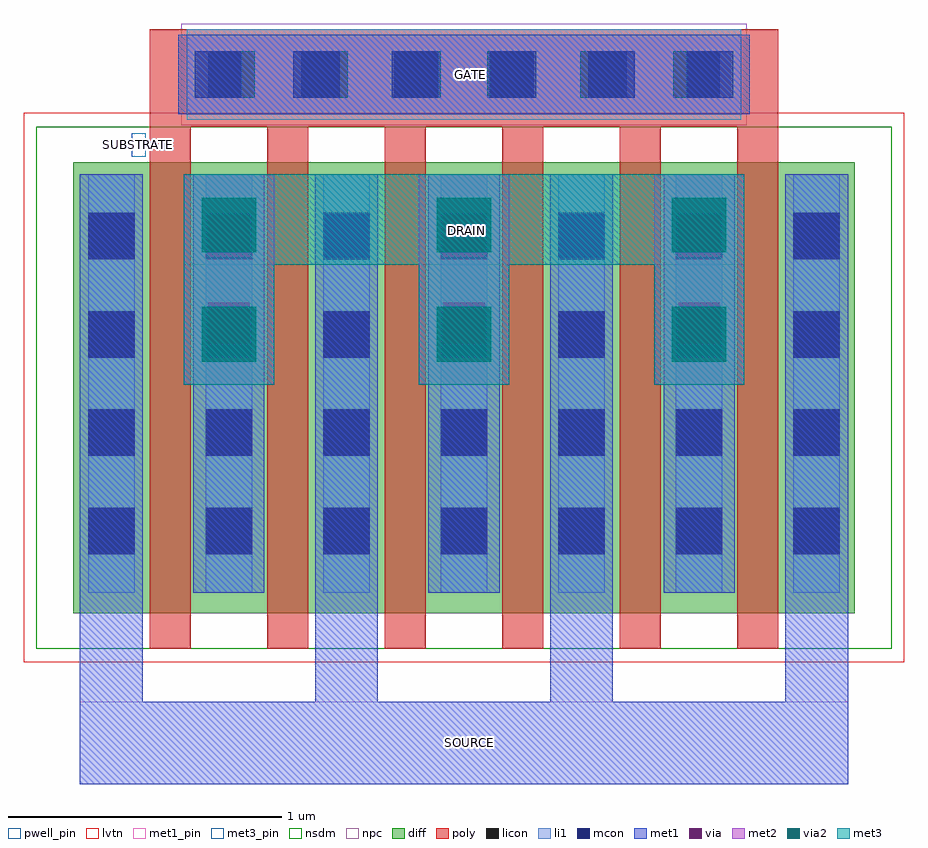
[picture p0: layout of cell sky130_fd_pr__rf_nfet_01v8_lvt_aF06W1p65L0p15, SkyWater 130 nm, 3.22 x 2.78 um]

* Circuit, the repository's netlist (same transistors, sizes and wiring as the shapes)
* Copyright 2020 The SkyWater PDK Authors
*
* Licensed under the Apache License, Version 2.0 (the "License");
* you may not use this file except in compliance with the License.
* You may obtain a copy of the License at
*
*     https://www.apache.org/licenses/LICENSE-2.0
*
* Unless required by applicable law or agreed to in writing, software
* distributed under the License is distributed on an "AS IS" BASIS,
* WITHOUT WARRANTIES OR CONDITIONS OF ANY KIND, either express or implied.
* See the License for the specific language governing permissions and
* limitations under the License.
*
* SPDX-License-Identifier: Apache-2.0


.subckt sky130_fd_pr__rf_nfet_01v8_lvt_aF06W1p65L0p15 DRAIN GATE SOURCE SUBSTRATE
X0 SOURCE GATE DRAIN SUBSTRATE sky130_fd_pr__nfet_01v8_lvt w=1.65e+06u l=150000u
X1 DRAIN GATE SOURCE SUBSTRATE sky130_fd_pr__nfet_01v8_lvt w=1.65e+06u l=150000u
X2 DRAIN GATE SOURCE SUBSTRATE sky130_fd_pr__nfet_01v8_lvt w=1.65e+06u l=150000u
X3 DRAIN GATE SOURCE SUBSTRATE sky130_fd_pr__nfet_01v8_lvt w=1.65e+06u l=150000u
X4 SOURCE GATE DRAIN SUBSTRATE sky130_fd_pr__nfet_01v8_lvt w=1.65e+06u l=150000u
X5 SOURCE GATE DRAIN SUBSTRATE sky130_fd_pr__nfet_01v8_lvt w=1.65e+06u l=150000u
.ends

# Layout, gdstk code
import gdstk
lib = gdstk.Library(unit=1e-6, precision=1e-09)
def R(c, l, rs):  # rectangles x0, y0, x1, y1
    for r in rs: c.add(gdstk.rectangle(r[:2], r[2:], *l))
def A(c, l, x, y, w, h, nx, ny, dx, dy):  # array of equal rectangles
    R(c, l, [(x+i*dx, y+j*dy, x+i*dx+w, y+j*dy+h) for i in range(nx) for j in range(ny)])
diff = (65, 20)
poly = (66, 20)
licon = (66, 44)
li1 = (67, 20)
mcon = (67, 44)
met1_pin = (68, 16)
met1 = (68, 20)
via = (68, 44)
met2 = (69, 20)
via2 = (69, 44)
met3_pin = (70, 16)
met3 = (70, 20)
nsdm = (93, 44)
npc = (95, 20)
pwell_pin = (122, 16)
lvtn = (125, 44)

sky130_fd_pr__rf_nfet_01 = lib.new_cell('sky130_fd_pr__rf_nfet_01v8_lvt_aF06W1p65L0p15')
A(sky130_fd_pr__rf_nfet_01, diff, 0.18, 0.18, 0.28, 1.65, 3, 1, 0.43, 0)
A(sky130_fd_pr__rf_nfet_01, diff, 0.21, 0.18, 0.25, 1.65, 4, 1, 0.86, 0)
A(sky130_fd_pr__rf_nfet_01, diff, 0.46, 0.18, 0.15, 1.65, 6, 1, 0.43, 0)
A(sky130_fd_pr__rf_nfet_01, diff, 1.04, 0.18, 0.28, 1.65, 3, 1, 0.43, 0)
A(sky130_fd_pr__rf_nfet_01, diff, 1.9, 0.18, 0.28, 1.65, 3, 1, 0.43, 0)
R(sky130_fd_pr__rf_nfet_01, diff, [(2.76,0.18,3.04,1.83)])
A(sky130_fd_pr__rf_nfet_01, poly, 0.46, 0.05, 0.15, 0.13, 6, 2, 0.43, 1.78)
A(sky130_fd_pr__rf_nfet_01, poly, 0.46, 0.05, 0.15, 1.91, 6, 1, 0.43, 0)
R(sky130_fd_pr__rf_nfet_01, poly, [(0.46,1.96,2.76,2.315), (0.595,1.985,2.625,2.315)])
A(sky130_fd_pr__rf_nfet_01, licon, 0.235, 0.395, 0.17, 0.17, 7, 4, 0.43, 0.36)
A(sky130_fd_pr__rf_nfet_01, licon, 0.675, 2.065, 0.17, 0.17, 6, 1, 0.34, 0)
A(sky130_fd_pr__rf_nfet_01, li1, 0.235, 0.255, 0.17, 1.53, 7, 1, 0.43, 0)
R(sky130_fd_pr__rf_nfet_01, li1, [(0.595,1.985,2.625,2.315), (0.625,2.065,2.595,2.235)])
A(sky130_fd_pr__rf_nfet_01, mcon, 0.235, 0.395, 0.17, 0.17, 7, 4, 0.43, 0.36)
A(sky130_fd_pr__rf_nfet_01, mcon, 0.625, 2.065, 0.17, 0.17, 6, 1, 0.36, 0)
R(sky130_fd_pr__rf_nfet_01, met1_pin, [(0.205,-0.445,3.015,-0.145), (0.565,2.005,2.655,2.295)])
R(sky130_fd_pr__rf_nfet_01, met1, [(0.565,2.005,2.655,2.295)])
A(sky130_fd_pr__rf_nfet_01, via, 0.675, 1.165, 0.15, 0.15, 3, 2, 0.86, 0.32)
A(sky130_fd_pr__rf_nfet_01, met2, 0.585, 1.015, 0.33, 0.77, 3, 1, 0.86, 0)
A(sky130_fd_pr__rf_nfet_01, met2, 0.62, 1.08, 0.26, 0.64, 3, 1, 0.86, 0)
A(sky130_fd_pr__rf_nfet_01, via2, 0.65, 1.1, 0.2, 0.2, 3, 2, 0.86, 0.4)
R(sky130_fd_pr__rf_nfet_01, met3_pin, [(0.585,1.455,2.635,1.785)])
A(sky130_fd_pr__rf_nfet_01, met3, 0.585, 1.015, 0.33, 0.77, 3, 1, 0.86, 0)
A(sky130_fd_pr__rf_nfet_01, nsdm, 0.21, 0.05, 0.4, 1.91, 6, 1, 0.43, 0)
A(sky130_fd_pr__rf_nfet_01, nsdm, 0.48, 0.05, 0.54, 1.91, 5, 1, 0.43, 0)
R(sky130_fd_pr__rf_nfet_01, nsdm, [(0.045,0.05,0.59,1.96), (2.63,0.05,3.175,1.96)])
R(sky130_fd_pr__rf_nfet_01, npc, [(0.575,1.965,2.645,2.335)])
R(sky130_fd_pr__rf_nfet_01, pwell_pin, [(0.395,1.85,0.445,1.935)])
R(sky130_fd_pr__rf_nfet_01, lvtn, [(0,0,3.22,2.01)])
sky130_fd_pr__rf_nfet_01.add(gdstk.FlexPath([(0.585,1.62),(2.635,1.62)], 0.33, ends="flush", simple_path=True, layer=70, datatype=20))  # met3
sky130_fd_pr__rf_nfet_01.add(gdstk.FlexPath([(0.32,1.785),(0.32,-0.445)], 0.23, ends="flush", simple_path=True, layer=68, datatype=20))  # met1
sky130_fd_pr__rf_nfet_01.add(gdstk.FlexPath([(0.75,1.785),(0.75,0.255)], 0.26, ends="flush", simple_path=True, layer=68, datatype=20))  # met1
sky130_fd_pr__rf_nfet_01.add(gdstk.FlexPath([(1.61,1.785),(1.61,0.255)], 0.26, ends="flush", simple_path=True, layer=68, datatype=20))  # met1
sky130_fd_pr__rf_nfet_01.add(gdstk.FlexPath([(2.47,1.785),(2.47,0.255)], 0.26, ends="flush", simple_path=True, layer=68, datatype=20))  # met1
sky130_fd_pr__rf_nfet_01.add(gdstk.FlexPath([(1.18,1.785),(1.18,-0.445)], 0.23, ends="flush", simple_path=True, layer=68, datatype=20))  # met1
sky130_fd_pr__rf_nfet_01.add(gdstk.FlexPath([(2.04,1.785),(2.04,-0.445)], 0.23, ends="flush", simple_path=True, layer=68, datatype=20))  # met1
sky130_fd_pr__rf_nfet_01.add(gdstk.FlexPath([(2.9,1.785),(2.9,-0.445)], 0.23, ends="flush", simple_path=True, layer=68, datatype=20))  # met1
sky130_fd_pr__rf_nfet_01.add(gdstk.FlexPath([(0.205,-0.295),(3.015,-0.295)], 0.3, ends="flush", simple_path=True, layer=68, datatype=20))  # met1
sky130_fd_pr__rf_nfet_01.add(gdstk.Label('DRAIN', (1.62,1.58), layer=70, texttype=16))
sky130_fd_pr__rf_nfet_01.add(gdstk.Label('GATE', (1.635,2.15), layer=68, texttype=16))
sky130_fd_pr__rf_nfet_01.add(gdstk.Label('SOURCE', (1.63,-0.295), layer=68, texttype=16))
sky130_fd_pr__rf_nfet_01.add(gdstk.Label('SUBSTRATE', (0.42,1.895), layer=64, texttype=59))

lib.write_gds('sky130_fd_pr__rf_nfet_01v8_lvt_aF06W1p65L0p15.gds')
